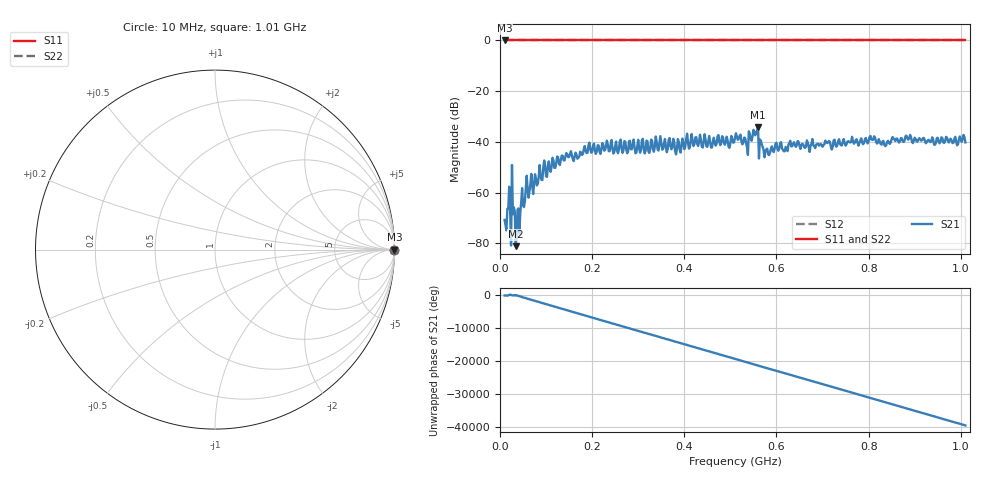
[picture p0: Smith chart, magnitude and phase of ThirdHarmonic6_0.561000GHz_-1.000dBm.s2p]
! 8/15/2025 5:54:26 PM
! C:\ANRITSUVNA\TEMP\TEMP.S2P
! CHANNEL.1
! TR.MEASUREMENT
! RAW.DATA
! RF.CORRECTION.OFF
! AVERAGING.OFF
! IF.BANDWIDTH: 5KHZ
! SWEEPTYPE:  FREQ.SWEEP(Linear)
! Reference Plane Port Info
! PORT:  PORT1  PORT2
! DISTANCE:  0  m  0  m
! TIME:  0  s  0  s
! PHASE.OFFSET:  0  deg.  0  deg.
! LOSS:  0  dB  0  dB
! REF.LOSS:  0  dB  0  dB
! REF.FREQ:  0  Hz  0  Hz
! Power Info
! POWER:  -20  dBm  -20  dBm
! EFF.POWER:  -20  dBm  -20  dBm
! SOURCE.ATTEN:  0  dB  0  dB
! TEST.ATTEN:  0  dB  0  dB
# GHZ S RI R 50.0
! FREQ.GHZ  S11RE  S11IM  S21RE  S21IM  S12RE  S12IM  S22RE  S22IM
!; PortSelection: Port_12
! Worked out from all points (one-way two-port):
!   501 points, 10 MHz to 1.01 GHz, reference 50 ohm
!   highest |S21| = -34.35 dB at 560 MHz (marker M1); lowest = -81.2 dB at 34 MHz (marker M2)
!   lowest |S11| = 0.0 dB at 10 MHz (marker M3)
!   |S11| at or under -10 dB: nowhere
!   |S22| runs from 0.0 to 0.0 dB; largest |S21 - S12| = 1
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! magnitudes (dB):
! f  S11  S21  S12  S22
! 10 MHz  0.0  -70.8  0.0  0.0
! 18 MHz  0.0  -66.3  0.0  0.0
! 20 MHz  0.0  -57.7  0.0  0.0
! 22 MHz  0.0  -67.2  0.0  0.0
! 30 MHz  0.0  -65.8  0.0  0.0
! 32 MHz  0.0  -67.4  0.0  0.0
! 34 MHz  0.0  -81.2  0.0  0.0
! 38 MHz  0.0  -66.7  0.0  0.0
! 44 MHz  0.0  -68.1  0.0  0.0
! 60 MHz  0.0  -58.9  0.0  0.0
! 94 MHz  0.0  -50.0  0.0  0.0
! 178 MHz  0.0  -45.2  0.0  0.0
! 344 MHz  0.0  -43.4  0.0  0.0
! 510 MHz  0.0  -38.3  0.0  0.0
! 534 MHz  0.0  -40.2  0.0  0.0
! 556 MHz  0.0  -36.3  0.0  0.0
! 560 MHz  0.0  -34.3  0.0  0.0
! 578 MHz  0.0  -43.0  0.0  0.0
! 678 MHz  0.0  -38.9  0.0  0.0
! 808 MHz  0.0  -39.2  0.0  0.0
! 844 MHz  0.0  -40.3  0.0  0.0
! 1.01 GHz  0.0  -40.2  0.0  0.0
